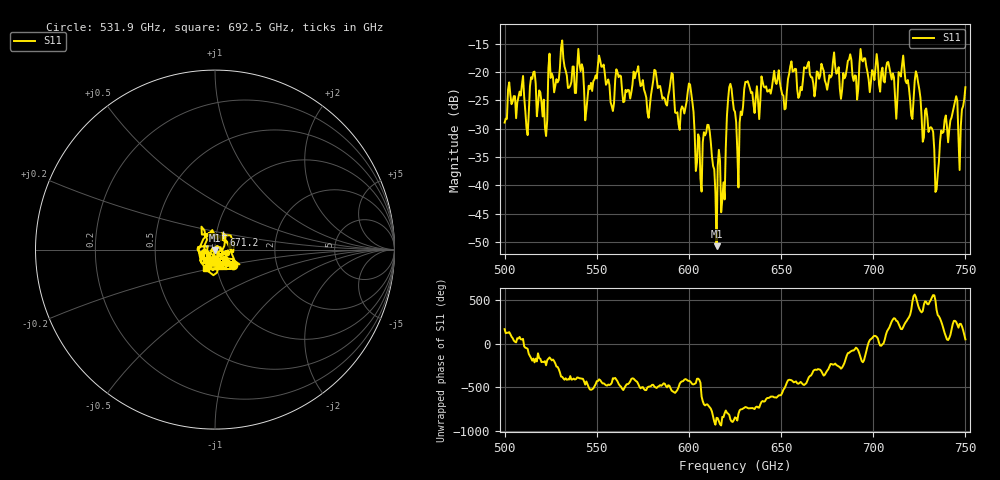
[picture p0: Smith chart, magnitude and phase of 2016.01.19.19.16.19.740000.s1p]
!Created with skrf (http://scikit-rf.org).
# GHz S RI R 50.0
!freq ReS11 ImS11
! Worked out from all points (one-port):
!   401 points, 500 GHz to 750 GHz, reference 50 ohm
!   lowest |S11| = -50.8 dB at 615 GHz (marker M1), VSWR 1.01, Z = 49.8 - j0.212 ohm
!   |S11| at or under -10 dB: start of sweep to end of sweep
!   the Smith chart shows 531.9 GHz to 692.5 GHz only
!   S11 on the Smith chart (normalised r, x): 531.9 GHz: 1.21, -0.21; 671.2 GHz: 1.08, +0.18; 692.5 GHz: 0.89, -0.19
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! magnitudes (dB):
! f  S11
! 500 GHz  -28.9
! 508.8 GHz  -24.2
! 511.9 GHz  -29.9
! 515.6 GHz  -20.0
! 521.9 GHz  -29.7
! 525 GHz  -21.1
! 531.2 GHz  -14.5
! 531.9 GHz  -17.6
! 544.4 GHz  -26.7
! 551.9 GHz  -18.0
! 562.5 GHz  -20.6
! 590.6 GHz  -20.2
! 593.8 GHz  -27.1
! 600.6 GHz  -22.2
! 605.6 GHz  -31.6
! 610.6 GHz  -29.4
! 615 GHz  -50.8
! 618.8 GHz  -39.5
! 621.9 GHz  -22.7
! 625 GHz  -27.1
! 656.2 GHz  -19.9
! 671.2 GHz  -20.6
! 687.5 GHz  -16.9
! 692.5 GHz  -18.7
! 718.8 GHz  -21.4
! 724.4 GHz  -21.9
! 734.4 GHz  -40.8
! 750 GHz  -22.7
